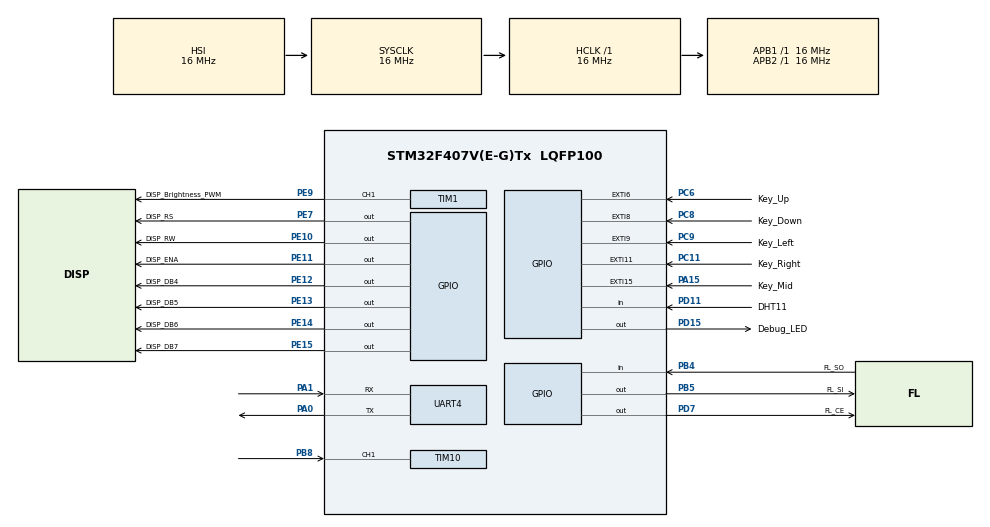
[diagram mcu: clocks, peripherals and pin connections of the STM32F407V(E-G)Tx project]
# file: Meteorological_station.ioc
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Mcu.Family=STM32F4
Mcu.Name=STM32F407V(E-G)Tx
Mcu.Package=LQFP100
NVIC.EXTI15_10_IRQn=true\:0\:0\:false\:false\:true\:true\:true\:true
NVIC.EXTI9_5_IRQn=true\:0\:0\:false\:false\:true\:true\:true\:true
NVIC.PriorityGroup=NVIC_PRIORITYGROUP_4
NVIC.TIM1_UP_TIM10_IRQn=true\:0\:0\:false\:false\:true\:true\:true\:true
NVIC.TIM7_IRQn=true\:0\:0\:false\:false\:true\:true\:true\:true
PA0-WKUP.Mode=Asynchronous
PA0-WKUP.Signal=UART4_TX
PA1.Mode=Asynchronous
PA1.Signal=UART4_RX
PA13.Mode=Serial_Wire
PA13.Signal=SYS_JTMS-SWDIO
PA14.Mode=Serial_Wire
PA14.Signal=SYS_JTCK-SWCLK
PA15.GPIO_Label=Key_Mid
PA15.GPIO_ModeDefaultEXTI=GPIO_MODE_IT_FALLING
PA15.Signal=GPXTI15
PA5.GPIO_Label=FL_SCK
PA5.Signal=S_TIM2_CH1_ETR
PB4.GPIO_Label=FL_SO
PB4.Signal=GPIO_Input
PB5.GPIO_Label=FL_SI
PB5.Signal=GPIO_Output
PB8.Signal=S_TIM10_CH1
PC11.GPIO_Label=Key_Right
PC11.GPIO_ModeDefaultEXTI=GPIO_MODE_IT_FALLING
PC11.Signal=GPXTI11
PC6.GPIO_Label=Key_Up
PC6.GPIO_ModeDefaultEXTI=GPIO_MODE_IT_FALLING
PC6.Signal=GPXTI6
PC8.GPIO_Label=Key_Down
PC8.GPIO_ModeDefaultEXTI=GPIO_MODE_IT_FALLING
PC8.Signal=GPXTI8
PC9.GPIO_Label=Key_Left
PC9.GPIO_ModeDefaultEXTI=GPIO_MODE_IT_FALLING
PC9.Signal=GPXTI9
PD11.GPIO_Label=DHT11
PD11.Signal=GPIO_Input
PD15.GPIO_Label=Debug_LED
PD15.Signal=GPIO_Output
PD7.GPIO_Label=FL_CE
PD7.Signal=GPIO_Output
PE10.GPIO_Label=DISP_RW
PE10.Signal=GPIO_Output
PE11.GPIO_Label=DISP_ENA
PE11.Signal=GPIO_Output
PE12.GPIO_Label=DISP_DB4
PE12.Signal=GPIO_Output
PE13.GPIO_Label=DISP_DB5
PE13.Signal=GPIO_Output
PE14.GPIO_Label=DISP_DB6
PE14.Signal=GPIO_Output
PE15.GPIO_Label=DISP_DB7
PE15.Signal=GPIO_Output
PE7.GPIO_Label=DISP_RS
PE7.Signal=GPIO_Output
PE9.GPIO_Label=DISP_Brightness_PWM
PE9.Signal=S_TIM1_CH1
ProjectManager.HeapSize=0x200
ProjectManager.StackSize=0x400
ProjectManager.TargetToolchain=MDK-ARM V5.32
RCC.48MHZClocksFreq_Value=53760000
RCC.AHBFreq_Value=16000000
RCC.APB1Freq_Value=16000000
RCC.APB2Freq_Value=16000000
RCC.CortexFreq_Value=16000000
RCC.HSE_VALUE=25000000
RCC.HSI_VALUE=16000000
RCC.LSE_VALUE=32768
RCC.PLLM=25
RCC.PLLN=336
RCC.SYSCLKFreq_VALUE=16000000
RCC.VCOOutputFreq_Value=215040000
SH.S_TIM10_CH1.0=TIM10_CH1,Input_Capture1_from_TI1
SH.S_TIM1_CH1.0=TIM1_CH1,PWM Generation1 CH1
SH.S_TIM2_CH1_ETR.0=TIM2_CH1
TIM1.Channel-PWM\ Generation1\ CH1=TIM_CHANNEL_1
TIM1.OC1Preload_PWM=DISABLE
TIM1.Period=1024-1
TIM1.Prescaler=16-1
TIM1.Pulse-PWM\ Generation1\ CH1=1024
TIM10.Channel=TIM_CHANNEL_1
TIM10.Period=3000
TIM10.Prescaler=16-1
TIM6.Prescaler=16-1
TIM7.AutoReloadPreload=TIM_AUTORELOAD_PRELOAD_DISABLE
TIM7.Period=3000-1
TIM7.Prescaler=16000-1
TIM7.TIM_MasterOutputTrigger=TIM_TRGO_RESET
UART4.VirtualMode=Asynchronous
VP_TIM10_VS_ClockSourceINT.Mode=Enable_Timer
VP_TIM6_VS_ClockSourceINT.Mode=Enable_Timer
VP_TIM6_VS_OPM.Mode=OPM_bit
VP_TIM7_VS_ClockSourceINT.Mode=Enable_Timer
board=custom

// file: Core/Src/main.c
/* USER CODE BEGIN Header */
/**
  ******************************************************************************
  * @file           : main.c
  * @brief          : Main program body
  ******************************************************************************
  * @attention
  *
  * Copyright (c) 2022 STMicroelectronics.
  * All rights reserved.
  *
  * This software is licensed under terms that can be found in the LICENSE file
  * in the root directory of this software component.
  * If no LICENSE file comes with this software, it is provided AS-IS.
  *
  ******************************************************************************
  */
/* USER CODE END Header */
#include "main.h"
#include "tim.h"
#include "usart.h"
#include "gpio.h"

/* USER CODE BEGIN Includes */
#include "../../Components/Lcd/lcd.h"
#include "../../Components/Status/status.h"
#include "../../Components/Timer/timer.h"
#include "../../Components/Modes/modes.h"
#include "../../Components/DHT11/DHT11.h"
/* USER CODE END Includes */

void SystemClock_Config(void);

int main(void)
{

  /* MCU Configuration--------------------------------------------------------*/

  /* Reset of all peripherals, Initializes the Flash interface and the Systick. */
  HAL_Init();

  /* Configure the system clock */
  SystemClock_Config();

  /* Initialize all configured peripherals */
  MX_GPIO_Init();
  MX_UART4_Init();
  MX_TIM6_Init();
  MX_TIM1_Init();
  MX_TIM10_Init();
  MX_TIM7_Init();

  /* Infinite loop */
  /* USER CODE BEGIN WHILE */
	lcd_init();

	mode_init();
	status_init();
//  HAL_TIM_Base_Start_IT(&htim7);
	dht_init();
	timer_spy_init();
	HAL_TIM_Base_Start(&htim1);
	HAL_TIM_PWM_Start(&htim1, TIM_CHANNEL_1);
	HAL_GPIO_WritePin(Debug_LED_GPIO_Port, Debug_LED_Pin, GPIO_PIN_RESET);
//	dht_check_sensor();
  while (1)
  {
			if (mode_get() == Mode_Choice)
				{
					mode_choice_run();
				}
			else if (mode_get() == Mode_Help)
				{
					mode_help_run();
				}
			else if (mode_get() == Mode_Settings)
				{
					mode_settings_run();
				}
			else if (mode_get() == Mode_Current_Data)
				{
					mode_current_data_run();
				}
			else if (mode_get() == Mode_Saved_Data)
				{
					mode_saved_data_run();
				}

    /* USER CODE END WHILE */

  }
}

void SystemClock_Config(void)
{
  RCC_OscInitTypeDef RCC_OscInitStruct = {0};
  RCC_ClkInitTypeDef RCC_ClkInitStruct = {0};

  /** Configure the main internal regulator output voltage
  */
  __HAL_RCC_PWR_CLK_ENABLE();
  __HAL_PWR_VOLTAGESCALING_CONFIG(PWR_REGULATOR_VOLTAGE_SCALE1);

  /** Initializes the RCC Oscillators according to the specified parameters
  * in the RCC_OscInitTypeDef structure.
  */
  RCC_OscInitStruct.OscillatorType = RCC_OSCILLATORTYPE_HSI;
  RCC_OscInitStruct.HSIState = RCC_HSI_ON;
  RCC_OscInitStruct.HSICalibrationValue = RCC_HSICALIBRATION_DEFAULT;
  RCC_OscInitStruct.PLL.PLLState = RCC_PLL_NONE;
  if (HAL_RCC_OscConfig(&RCC_OscInitStruct) != HAL_OK)
  {
    Error_Handler();
  }

  /** Initializes the CPU, AHB and APB buses clocks
  */
  RCC_ClkInitStruct.ClockType = RCC_CLOCKTYPE_HCLK|RCC_CLOCKTYPE_SYSCLK
                              |RCC_CLOCKTYPE_PCLK1|RCC_CLOCKTYPE_PCLK2;
  RCC_ClkInitStruct.SYSCLKSource = RCC_SYSCLKSOURCE_HSI;
  RCC_ClkInitStruct.AHBCLKDivider = RCC_SYSCLK_DIV1;
  RCC_ClkInitStruct.APB1CLKDivider = RCC_HCLK_DIV1;
  RCC_ClkInitStruct.APB2CLKDivider = RCC_HCLK_DIV1;

  if (HAL_RCC_ClockConfig(&RCC_ClkInitStruct, FLASH_LATENCY_0) != HAL_OK)
  {
    Error_Handler();
  }
}

/* USER CODE BEGIN 4 */
void HAL_TIM_PeriodElapsedCallback(TIM_HandleTypeDef* htim)
{
	if (htim == &htim10)
	{
		timer_spy_stop();
		timer_spy_reset();
		status_set(0x0000);
	}
	if (htim == &htim7)
	{
		dht_check_sensor();
	}
}

/* USER CODE END 4 */

void Error_Handler(void)
{
  __disable_irq();
  while (1)
  {
  }
}
